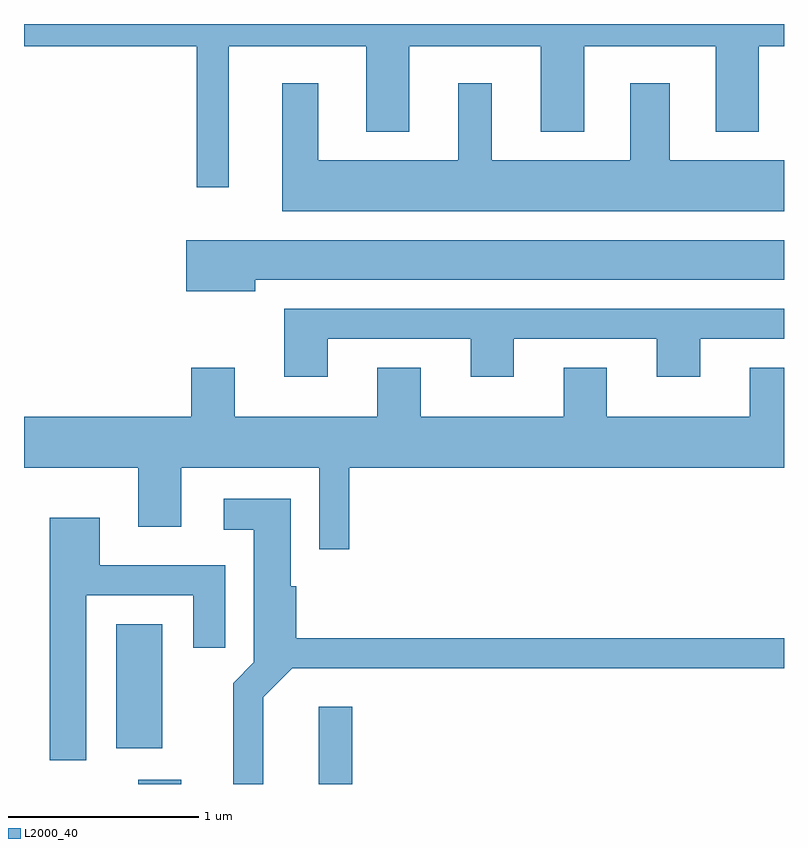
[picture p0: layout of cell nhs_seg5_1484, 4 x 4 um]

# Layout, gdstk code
import gdstk
lib = gdstk.Library(unit=1e-6, precision=1e-09)
def R(c, l, rs):  # rectangles x0, y0, x1, y1
    for r in rs: c.add(gdstk.rectangle(r[:2], r[2:], *l))
def P(c, l, *ps):  # polygons
    for p in ps: c.add(gdstk.Polygon(p, *l))
L2000_40 = (2000, 40)

nhs_seg5_1484 = lib.new_cell('nhs_seg5_1484')
R(nhs_seg5_1484, L2000_40, [(230.211,1404.072,230.439,1404.094), (231.161,1404.072,231.339,1404.479), (230.096,1404.261,230.339,1404.914)])
P(nhs_seg5_1484, L2000_40, [(230.689,1407.956),(231.411,1407.956),(231.411,1407.506),(231.639,1407.506),(231.639,1407.956),(232.331,1407.956),(232.331,1407.506),(232.559,1407.506),(232.559,1407.956),(233.251,1407.956),(233.251,1407.506),(233.479,1407.506),(233.479,1407.956),(233.611,1407.956),(233.611,1408.072),(229.611,1408.072),(229.611,1407.956),(230.521,1407.956),(230.521,1407.213),(230.689,1407.213)],
  [(233.611,1407.354),(233.009,1407.354),(233.009,1407.759),(232.801,1407.759),(232.801,1407.354),(232.074,1407.354),(232.074,1407.759),(231.896,1407.759),(231.896,1407.354),(231.159,1407.354),(231.159,1407.759),(230.971,1407.759),(230.971,1407.086),(233.611,1407.086)],
  [(230.829,1406.726),(233.611,1406.726),(233.611,1406.934),(230.466,1406.934),(230.466,1406.666),(230.829,1406.666)],
  [(231.209,1406.416),(231.961,1406.416),(231.961,1406.216),(232.189,1406.216),(232.189,1406.416),(232.941,1406.416),(232.941,1406.216),(233.169,1406.216),(233.169,1406.416),(233.611,1406.416),(233.611,1406.574),(230.981,1406.574),(230.981,1406.216),(231.209,1406.216)],
  [(231.324,1405.736),(233.611,1405.736),(233.611,1406.264),(233.431,1406.264),(233.431,1406.004),(232.679,1406.004),(232.679,1406.264),(232.451,1406.264),(232.451,1406.004),(231.699,1406.004),(231.699,1406.264),(231.471,1406.264),(231.471,1406.004),(230.719,1406.004),(230.719,1406.264),(230.491,1406.264),(230.491,1406.004),(229.611,1406.004),(229.611,1405.736),(230.211,1405.736),(230.211,1405.426),(230.439,1405.426),(230.439,1405.736),(231.166,1405.736),(231.166,1405.308),(231.324,1405.308)],
  [(230.869,1404.529),(231.022,1404.681),(233.611,1404.681),(233.611,1404.839),(231.044,1404.839),(231.044,1405.114),(231.014,1405.114),(231.014,1405.574),(230.663,1405.574),(230.663,1405.411),(230.821,1405.411),(230.821,1404.712),(230.711,1404.602),(230.711,1404.072),(230.869,1404.072)],
  [(229.939,1405.066),(230.501,1405.066),(230.501,1404.788),(230.669,1404.788),(230.669,1405.224),(230.009,1405.224),(230.009,1405.474),(229.746,1405.474),(229.746,1404.196),(229.939,1404.196)])

lib.write_gds('nhs_seg5_1484.gds')
